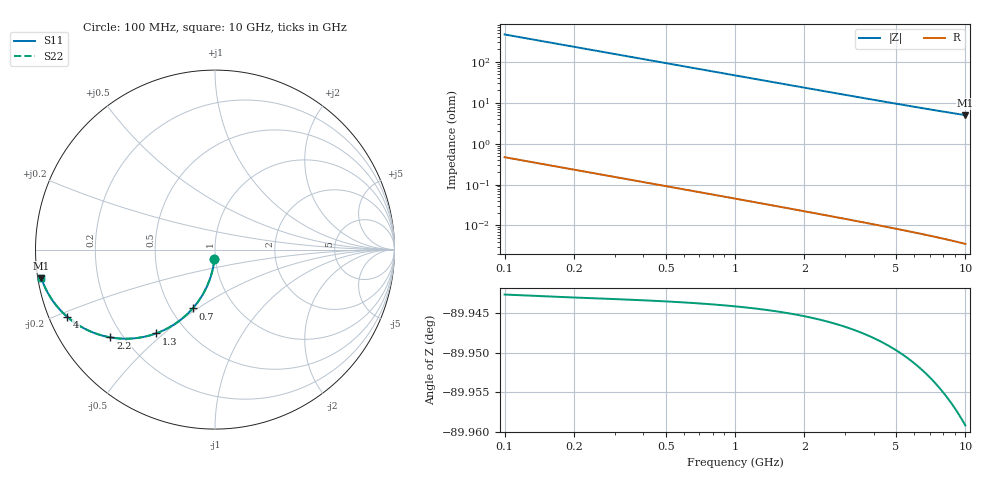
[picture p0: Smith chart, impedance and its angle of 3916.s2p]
# Hz S RI R 50.00
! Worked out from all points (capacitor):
!   100 points, 100 MHz to 10 GHz, reference 50 ohm
!   read as one part in shunt: C = 3.42 pF near 100 MHz
!   lowest |Z| = 4.98 ohm at 10 GHz (marker M1)
!   S11 on the Smith chart (normalised r, x): 100 MHz: 0.99, -0.11; 700 MHz: 0.64, -0.48; 1.3 GHz: 0.34, -0.47; 2.2 GHz: 0.15, -0.36; 4 GHz: 0.05, -0.22; 10 GHz: 0.01, -0.08
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1e8  -0.00288 -0.0534  0.997 -0.0537  0.997 -0.0537  -0.00288 -0.0534
2e8  -0.0115 -0.1058  0.9884 -0.1065  0.9884 -0.1065  -0.0115 -0.1058
3e8  -0.0254 -0.1565  0.9745 -0.1574  0.9745 -0.1574  -0.0254 -0.1565
4e8  -0.0442 -0.2046  0.9557 -0.2059  0.9557 -0.2059  -0.0442 -0.2046
5e8  -0.0674 -0.2495  0.9325 -0.2511  0.9325 -0.2511  -0.0674 -0.2495
6e8  -0.0942 -0.2908  0.9057 -0.2926  0.9057 -0.2926  -0.0942 -0.2908
7e8  -0.124 -0.328  0.8759 -0.3302  0.8759 -0.3302  -0.124 -0.328
8e8  -0.156 -0.3611  0.8439 -0.3636  0.8439 -0.3636  -0.156 -0.3611
1e9  -0.224 -0.4149  0.7759 -0.418  0.7759 -0.418  -0.224 -0.4149
1.3e9  -0.3277 -0.4669  0.6722 -0.4709  0.6722 -0.4709  -0.3277 -0.4669
1.5e9  -0.3935 -0.4857  0.6064 -0.4904  0.6064 -0.4904  -0.3935 -0.4857
1.8e9  -0.4829 -0.4964  0.517 -0.502  0.517 -0.502  -0.4829 -0.4964
2.2e9  -0.5824 -0.4892  0.4174 -0.4961  0.4174 -0.4961  -0.5824 -0.4892
2.5e9  -0.643 -0.4747  0.3569 -0.4825  0.3569 -0.4825  -0.643 -0.4747
2.8e9  -0.6932 -0.4562  0.3067 -0.465  0.3067 -0.465  -0.6932 -0.4562
3.4e9  -0.7692 -0.4155  0.2307 -0.4261  0.2307 -0.4261  -0.7692 -0.4155
4e9  -0.8219 -0.3757  0.1779 -0.3883  0.1779 -0.3883  -0.8219 -0.3757
4.5e9  -0.8539 -0.3455  0.1459 -0.3597  0.1459 -0.3597  -0.8539 -0.3455
5.1e9  -0.8826 -0.3132  0.1172 -0.3293  0.1172 -0.3293  -0.8826 -0.3132
6.7e9  -0.9287 -0.2457  0.0709 -0.2672  0.0709 -0.2672  -0.9287 -0.2457
8.4e9  -0.9538 -0.1952  0.0457 -0.2225  0.0457 -0.2225  -0.9538 -0.1952
1e10  -0.9672 -0.1602  0.0321 -0.1931  0.0321 -0.1931  -0.9672 -0.1602
